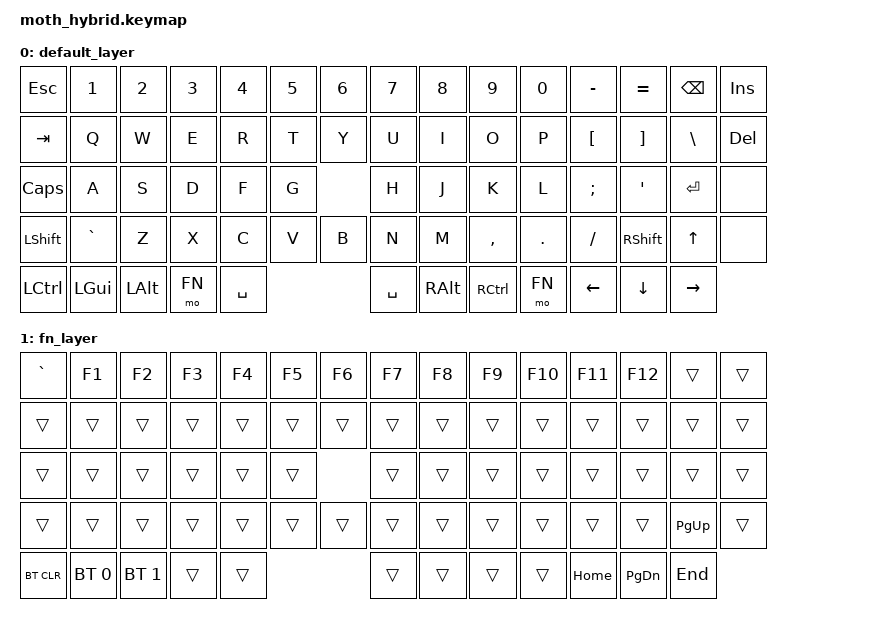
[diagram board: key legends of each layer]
#include <behaviors.dtsi>
#include <dt-bindings/zmk/keys.h>
#include <dt-bindings/zmk/bt.h>

#define DEFAULT 0
#define FN      1

/ {
    keymap {
        compatible = "zmk,keymap";

        default_layer {
            bindings = <
                &kp ESC   &kp N1    &kp N2    &kp N3    &kp N4    &kp N5    &kp N6       &kp N7    &kp N8    &kp N9    &kp N0    &kp MINUS &kp EQUAL &kp BSPC  &kp INS
                &kp TAB   &kp Q     &kp W     &kp E     &kp R     &kp T                  &kp Y     &kp U     &kp I     &kp O     &kp P     &kp LBKT  &kp RBKT  &kp BSLH  &kp DEL
                &kp CAPS  &kp A     &kp S     &kp D     &kp F     &kp G                  &kp H     &kp J     &kp K     &kp L     &kp SEMI  &kp SQT   &kp RET   &none
                &kp LSHFT &kp GRAVE &kp Z     &kp X     &kp C     &kp V     &kp B        &kp N     &kp M     &kp COMMA &kp DOT   &kp FSLH  &kp RSHFT &kp UP    &none
                &kp LCTRL &kp LGUI  &kp LALT  &mo FN    &kp SPACE                        &kp SPACE &kp RALT  &kp RCTRL &mo FN    &kp LEFT  &kp DOWN  &kp RIGHT
            >;
        };

        fn_layer {
            bindings = <
                &kp GRAVE &kp F1    &kp F2    &kp F3    &kp F4    &kp F5    &kp F6       &kp F7    &kp F8    &kp F9    &kp F10   &kp F11   &kp F12   &trans    &trans
                &trans    &trans    &trans    &trans    &trans    &trans                   &trans    &trans    &trans    &trans    &trans    &trans    &trans    &trans    &trans
                &trans    &trans    &trans    &trans    &trans    &trans                   &trans    &trans    &trans    &trans    &trans    &trans    &trans    &trans
                &trans    &trans    &trans    &trans    &trans    &trans    &trans         &trans    &trans    &trans    &trans    &trans    &trans    &kp PG_UP &trans
                &bt BT_CLR &bt BT_SEL 0 &bt BT_SEL 1 &trans &trans                      &trans    &trans    &trans    &trans    &kp HOME  &kp PG_DN &kp END
            >;
        };
    };
};
